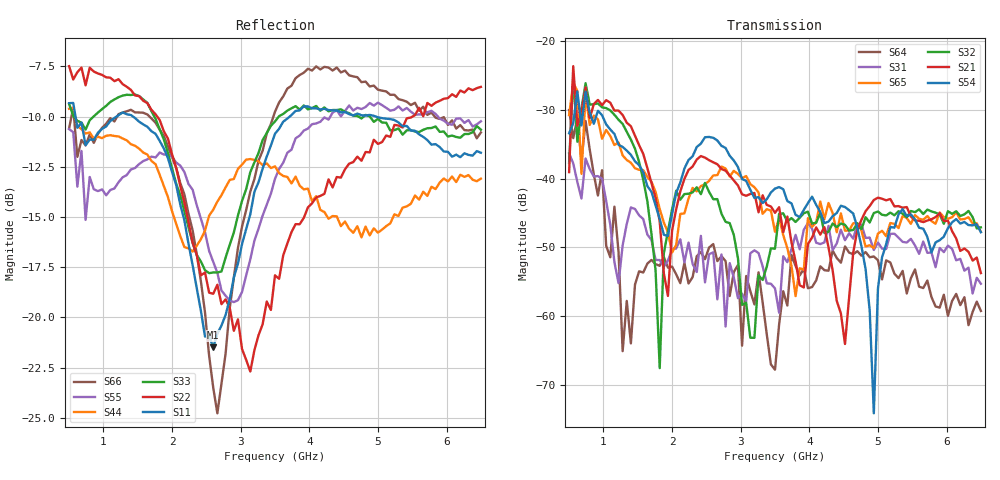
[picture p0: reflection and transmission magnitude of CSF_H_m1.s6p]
!Keysight Technologies,M9804A,MY58100912,A.14.10.03
!Date: Thursday, April 27, 2023 10:28:33
!Correction: S11(C  6-Port  )
!S12(C  6-Port  )
!S13(C  6-Port  )
!S14(C  6-Port  )
!S15(C  6-Port  )
!S16(C  6-Port  )
!S21(C  6-Port  )
!S22(C  6-Port  )
!S23(C  6-Port  )
!S24(C  6-Port  )
!S25(C  6-Port  )
!S26(C  6-Port  )
!S31(C  6-Port  )
!S32(C  6-Port  )
!S33(C  6-Port  )
!S34(C  6-Port  )
!S35(C  6-Port  )
!S36(C  6-Port  )
!S41(C  6-Port  )
!S42(C  6-Port  )
!S43(C  6-Port  )
!S44(C  6-Port  )
!S45(C  6-Port  )
!S46(C  6-Port  )
!S51(C  6-Port  )
!S52(C  6-Port  )
!S53(C  6-Port  )
!S54(C  6-Port  )
!S55(C  6-Port  )
!S56(C  6-Port  )
!S61(C  6-Port  )
!S62(C  6-Port  )
!S63(C  6-Port  )
!S64(C  6-Port  )
!S65(C  6-Port  )
!S66(C  6-Port  )
!S6P File: Measurement: :
# Hz S  RI  R 50
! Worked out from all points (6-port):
!   101 points, 500 MHz to 6.5 GHz, reference 50 ohm
!   strongest paths, dB at 500 MHz, 2 GHz, 3.5 GHz, 5 GHz, 6.5 GHz:
!     S54: -33.4, -45.2, -41.4, -56.0, -47.8
!     S21: -39.0, -47.6, -45.0, -42.8, -53.7
!     S32: -37.7, -44.5, -50.2, -44.8, -47.1
!     S65: -30.7, -50.7, -47.7, -48.0, -47.7
!     S31: -36.3, -50.3, -56.0, -49.3, -55.3
!     S64: -30.0, -52.8, -67.8, -51.9, -59.2
!   lowest |S11| = -21.5 dB at 2.6 GHz (marker M1), VSWR 1.18, Z = 42.5 + j2.14 ohm
!   |S11| at or under -10 dB: 593 MHz to 1.19 GHz (597.1 MHz wide, 67 % of centre); 1.432 GHz to 3.714 GHz (2.282 GHz wide, 88.7 % of centre); 4.971 GHz to end of sweep
